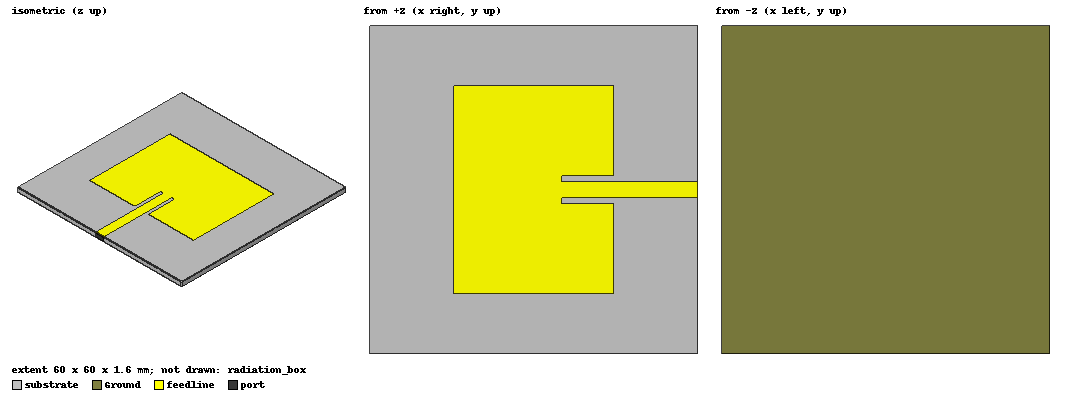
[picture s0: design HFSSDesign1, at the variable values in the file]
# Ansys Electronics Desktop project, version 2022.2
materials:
  vacuum: permittivity=1
  FR4_epoxy: permittivity=4.4 dielectric_loss_tangent=0.02
  copper: permeability=0.999991 conductivity=58000000
  air: permittivity=1.0006 permeability=1.0000004

design HFSSDesign1 (HFSS, DrivenModal, model units mm)
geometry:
  Ground [copper] = rectangle(corner=(-30mm, -30mm, 0mm), x_size=60mm, y_size=60mm)
  substrate [FR4_epoxy] = box(corner=(-30mm, -30mm, 0mm), size=(60mm, 60mm, 1.6mm))
  patch = rectangle(corner=((-29.4/2) mm, (-38/2) mm, 1.6mm), x_size=29.4mm, y_size=38mm)
  feedline = rectangle(corner=(0mm, (-3/2) mm, 1.6mm), x_size=30mm, y_size=3mm)
  coordinate_system RelativeCS1 = origin=(55mm, 0mm, 0mm) x=(1mm, 0mm, 0mm) y=(0mm, 1mm, 0mm)
  cut = rectangle(corner=(14.7mm, -2.5mm, 1.6mm), x_size=-9.5mm, y_size=5mm)
  patch.subtract(cut)
  feedline.unite(patch)
  port = rectangle(corner=(-25mm, -1.5mm, 1.6mm), y_size=3mm, z_size=-1.6mm) in RelativeCS1
  Ground.thicken(0.01mm)
  radiation_box [air] = box(corner=(-40mm, -40mm, -20mm), size=(80mm, 80mm, 40mm))
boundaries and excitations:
  PerfE1: Perfect E Objects=[Ground, feedline]
  Rad1: Radiation Objects=radiation_box
  1: Lumped Port Objects=port Modes{Mode1{IntLine{(30, 0, 0) -> (30, 0, 1.6)} CharImp=Zpi RenormImp=50ohm}} Impedance=50ohm
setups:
  Setup1: HfssDriven Frequency=2.4GHz MaxDeltaS=0.02 MaximumPasses=20 MinimumPasses=1 MinimumConvergedPasses=1 PercentRefinement=30 BasisOrder=1 PortAccuracy=2 DrivenSolverType="Direct Solver"
    sweep Sweep: 1GHz to 3GHz step 0.01GHz; Type=Fast SaveFields
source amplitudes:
  1:1: 1W 0deg
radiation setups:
  Infinite Sphere1: Infinite Sphere Theta=0deg..180deg step 10deg Phi=0deg..360deg step 10deg
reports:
  S Parameter Plot 1: dB(S(1,1)) vs Freq on Setup1 : Sweep; markers m1 at 2.38GHz
  rE Plot 1: rETotal vs Phi, Theta on Setup1 : LastAdaptive, Infinite Sphere1 [Freq=2.4GHz]
